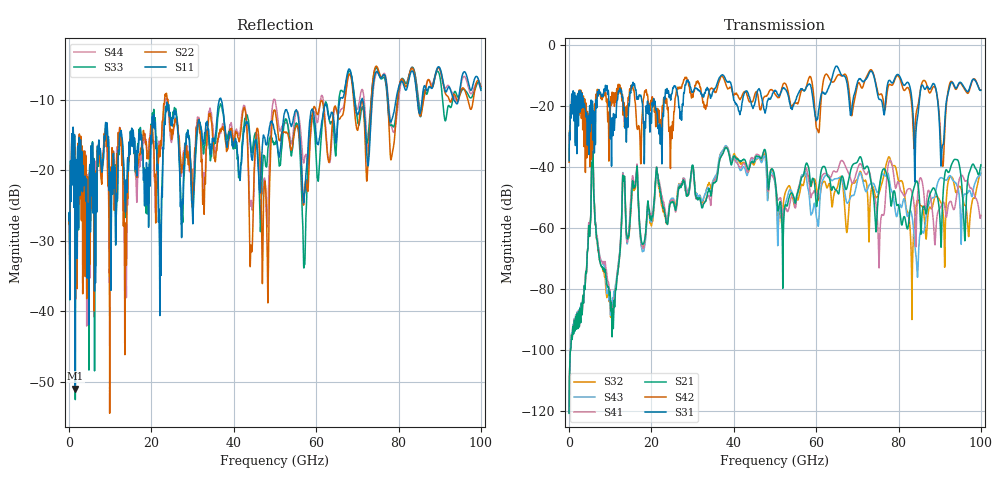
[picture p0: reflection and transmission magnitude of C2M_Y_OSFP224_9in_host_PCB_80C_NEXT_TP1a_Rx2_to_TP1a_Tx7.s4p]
# GHz S RI R 45
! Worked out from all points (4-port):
!   4000 points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, 25 MHz to 100 GHz, reference 45 ohm
!   strongest paths, dB at 25 MHz, 25.02 GHz, 50.02 GHz, 75.03 GHz, 100 GHz:
!     S31: -37.8, -15.7, -14.7, -16.7, -14.7
!     S42: -38.3, -28.8, -16.0, -15.6, -14.6
!     S21: -120.6, -51.3, -43.8, -50.7, -39.1
!     S41: -120.2, -50.7, -44.8, -61.2, -55.7
!     S43: -119.9, -50.1, -45.4, -48.1, -41.8
!     S32: -120.3, -50.5, -44.8, -49.2, -42.0
!   lowest |S11| = -51.0 dB at 1.525 GHz (marker M1), VSWR 1.01, Z = 45 + j0.255 ohm
!   |S11| at or under -10 dB: start of sweep to 36.46 GHz; 36.95 GHz to 65.77 GHz (28.82 GHz wide, 56.1 % of centre); 71.32 GHz to 73.58 GHz (2.263 GHz wide, 3.12 % of centre) (the widest 3 of 7)
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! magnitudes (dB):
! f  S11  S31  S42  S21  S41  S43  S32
! 25 MHz  -27.1  -37.8  -38.3  -120.6  -120.2  -119.9  -120.3
! 1.525 GHz  -51.0  -31.7  -22.1  -92.1  -91.7  -91.4  -91.8
! 5.75 GHz  -17.0  -19.7  -34.1  -35.6  -35.4  -35.6  -35.7
! 10.78 GHz  -17.6  -22.6  -16.1  -91.4  -88.4  -84.0  -86.6
! 38.15 GHz  -15.9  -11.4  -13.1  -33.5  -33.3  -32.9  -33.0
! 84.45 GHz  -9.3  -25.1  -21.1  -44.5  -54.2  -73.3  -51.3
! 100 GHz  -8.6  -14.7  -14.6  -39.1  -55.7  -41.8  -42.0
